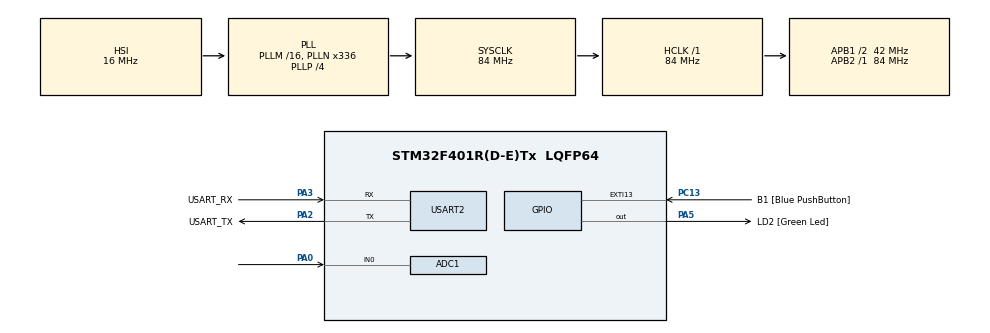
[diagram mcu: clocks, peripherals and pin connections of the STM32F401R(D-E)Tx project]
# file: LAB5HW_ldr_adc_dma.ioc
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ADC1.Channel-0\#ChannelRegularConversion=ADC_CHANNEL_0
ADC1.ContinuousConvMode=DISABLE
ADC1.DMAContinuousRequests=ENABLE
ADC1.ExternalTrigConv=ADC_EXTERNALTRIGCONV_T2_TRGO
ADC1.NbrOfConversion=1
ADC1.NbrOfConversionFlag=1
ADC1.Rank-0\#ChannelRegularConversion=1
ADC1.SamplingTime-0\#ChannelRegularConversion=ADC_SAMPLETIME_3CYCLES
ADC1.master=1
Dma.ADC1.0.Direction=DMA_PERIPH_TO_MEMORY
Dma.ADC1.0.FIFOMode=DMA_FIFOMODE_DISABLE
Dma.ADC1.0.Instance=DMA2_Stream0
Dma.ADC1.0.MemDataAlignment=DMA_MDATAALIGN_HALFWORD
Dma.ADC1.0.MemInc=DMA_MINC_ENABLE
Dma.ADC1.0.Mode=DMA_CIRCULAR
Dma.ADC1.0.PeriphDataAlignment=DMA_PDATAALIGN_HALFWORD
Dma.ADC1.0.PeriphInc=DMA_PINC_DISABLE
Dma.ADC1.0.Priority=DMA_PRIORITY_LOW
Dma.Request0=ADC1
Dma.Request1=USART2_TX
Dma.USART2_TX.1.Direction=DMA_MEMORY_TO_PERIPH
Dma.USART2_TX.1.FIFOMode=DMA_FIFOMODE_DISABLE
Dma.USART2_TX.1.Instance=DMA1_Stream6
Dma.USART2_TX.1.MemDataAlignment=DMA_MDATAALIGN_BYTE
Dma.USART2_TX.1.MemInc=DMA_MINC_ENABLE
Dma.USART2_TX.1.Mode=DMA_NORMAL
Dma.USART2_TX.1.PeriphDataAlignment=DMA_PDATAALIGN_BYTE
Dma.USART2_TX.1.PeriphInc=DMA_PINC_DISABLE
Dma.USART2_TX.1.Priority=DMA_PRIORITY_LOW
Mcu.Family=STM32F4
Mcu.Name=STM32F401R(D-E)Tx
Mcu.Package=LQFP64
NVIC.DMA1_Stream6_IRQn=true\:0\:0\:false\:false\:true\:false\:true
NVIC.DMA2_Stream0_IRQn=true\:0\:0\:false\:false\:true\:false\:true
NVIC.PriorityGroup=NVIC_PRIORITYGROUP_0
NVIC.USART2_IRQn=true\:0\:0\:false\:false\:true\:true\:true
PA0-WKUP.Signal=ADCx_IN0
PA13.GPIO_Label=TMS
PA13.Mode=Serial_Wire
PA13.Signal=SYS_JTMS-SWDIO
PA14.GPIO_Label=TCK
PA14.Mode=Serial_Wire
PA14.Signal=SYS_JTCK-SWCLK
PA2.GPIO_Label=USART_TX
PA2.GPIO_Mode=GPIO_MODE_AF_PP
PA2.GPIO_PuPd=GPIO_NOPULL
PA2.GPIO_Speed=GPIO_SPEED_FREQ_LOW
PA2.Mode=Asynchronous
PA2.Signal=USART2_TX
PA3.GPIO_Label=USART_RX
PA3.GPIO_Mode=GPIO_MODE_AF_PP
PA3.GPIO_PuPd=GPIO_NOPULL
PA3.GPIO_Speed=GPIO_SPEED_FREQ_LOW
PA3.Mode=Asynchronous
PA3.Signal=USART2_RX
PA5.GPIO_Label=LD2 [Green Led]
PA5.GPIO_Mode=GPIO_MODE_OUTPUT_PP
PA5.GPIO_PuPd=GPIO_NOPULL
PA5.GPIO_Speed=GPIO_SPEED_FREQ_LOW
PA5.Signal=GPIO_Output
PB3.GPIO_Label=SWO
PB3.Signal=SYS_JTDO-SWO
PC13-ANTI_TAMP.GPIO_Label=B1 [Blue PushButton]
PC13-ANTI_TAMP.GPIO_ModeDefaultEXTI=GPIO_MODE_IT_FALLING
PC13-ANTI_TAMP.GPIO_PuPd=GPIO_NOPULL
PC13-ANTI_TAMP.Signal=GPXTI13
PC14-OSC32_IN.Mode=LSE-External-Oscillator
PC14-OSC32_IN.Signal=RCC_OSC32_IN
PC15-OSC32_OUT.Mode=LSE-External-Oscillator
PC15-OSC32_OUT.Signal=RCC_OSC32_OUT
PH0\ -\ OSC_IN.Mode=HSE-External-Clock-Source
PH0\ -\ OSC_IN.Signal=RCC_OSC_IN
PH1\ -\ OSC_OUT.Mode=HSE-External-Clock-Source
PH1\ -\ OSC_OUT.Signal=RCC_OSC_OUT
ProjectManager.HeapSize=0x200
ProjectManager.StackSize=0x400
ProjectManager.TargetToolchain=STM32CubeIDE
RCC.48MHZClocksFreq_Value=48000000
RCC.AHBFreq_Value=84000000
RCC.APB1CLKDivider=RCC_HCLK_DIV2
RCC.APB1Freq_Value=42000000
RCC.APB1TimFreq_Value=84000000
RCC.APB2Freq_Value=84000000
RCC.APB2TimFreq_Value=84000000
RCC.CortexFreq_Value=84000000
RCC.HCLKFreq_Value=84000000
RCC.HSE_VALUE=8000000
RCC.HSI_VALUE=16000000
RCC.PLLN=336
RCC.PLLP=RCC_PLLP_DIV4
RCC.PLLQ=7
RCC.SYSCLKFreq_VALUE=84000000
RCC.SYSCLKSource=RCC_SYSCLKSOURCE_PLLCLK
RCC.VCOOutputFreq_Value=336000000
SH.ADCx_IN0.0=ADC1_IN0,IN0
TIM2.AutoReloadPreload=TIM_AUTORELOAD_PRELOAD_ENABLE
TIM2.Period=21-1
TIM2.Prescaler=4000-1
TIM2.TIM_MasterOutputTrigger=TIM_TRGO_UPDATE
USART2.VirtualMode=VM_ASYNC
VP_TIM2_VS_ClockSourceINT.Mode=Internal
board=NUCLEO-F401RE

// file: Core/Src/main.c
/* USER CODE BEGIN Header */
/**
  ******************************************************************************
  * @file           : main.c
  * @brief          : Main program body
  ******************************************************************************
  * @attention
  *
  * <h2><center>&copy; Copyright (c) 2021 STMicroelectronics.
  * All rights reserved.</center></h2>
  *
  * This software component is licensed by ST under BSD 3-Clause license,
  * the "License"; You may not use this file except in compliance with the
  * License. You may obtain a copy of the License at:
  *                        opensource.org/licenses/BSD-3-Clause
  *
  ******************************************************************************
  */
/* USER CODE END Header */
#include "main.h"

/* USER CODE BEGIN Includes */
#include "stdio.h"
#include "math.h"
/* USER CODE END Includes */

/* USER CODE BEGIN PD */
#define BUFFER_LENGTH 50
/* USER CODE END PD */

ADC_HandleTypeDef hadc1;
DMA_HandleTypeDef hdma_adc1;

TIM_HandleTypeDef htim2;

UART_HandleTypeDef huart2;
DMA_HandleTypeDef hdma_usart2_tx;

/* USER CODE BEGIN PV */
#define ADC_BUFFER_SIZE 1000
uint16_t LDR_samples[ADC_BUFFER_SIZE];

/* USER CODE END PV */

void SystemClock_Config(void);
static void MX_GPIO_Init(void);
static void MX_USART2_UART_Init(void);
static void MX_DMA_Init(void);
static void MX_ADC1_Init(void);
static void MX_TIM2_Init(void);

/* USER CODE BEGIN 0 */
void HAL_ADC_ConvCpltCallback(ADC_HandleTypeDef* hadc)
{
  // HAL_UART_Transmit(&huart2, "complete\r\n", 6, 100);
}
/* USER CODE END 0 */

int main(void)
{

  /* MCU Configuration--------------------------------------------------------*/

  /* Reset of all peripherals, Initializes the Flash interface and the Systick. */
  HAL_Init();

  /* Configure the system clock */
  SystemClock_Config();

  /* USER CODE BEGIN SysInit */
  MX_DMA_Init();
  /* USER CODE END SysInit */

  /* Initialize all configured peripherals */
  MX_GPIO_Init();
  MX_USART2_UART_Init();
  MX_DMA_Init();
  MX_ADC1_Init();
  MX_TIM2_Init();
  /* USER CODE BEGIN 2 */

  if(HAL_ADC_Start_DMA(&hadc1, (uint32_t*) LDR_samples, ADC_BUFFER_SIZE) != HAL_OK){
 	  Error_Handler();
   }

  if(HAL_TIM_Base_Start(&htim2) != HAL_OK){
	  Error_Handler();
  }

  /* USER CODE END 2 */

  /* Infinite loop */
  /* USER CODE BEGIN WHILE */
  while (1)
  {
	  int sum = 0;
	  HAL_Delay(1000);

	 if(HAL_ADC_Stop_DMA(&hadc1) != HAL_OK){
		  Error_Handler();
	  }

	  for(int i  =0; i<1000; i++){
		  sum += LDR_samples[i];
	  }

	  {
	  char message[BUFFER_LENGTH];
	  float Vadc = (sum*3.3)/(4096*ADC_BUFFER_SIZE);
	  float Lux =  10*pow((3.3/Vadc)-1,1.25);
	  int length = snprintf (message, BUFFER_LENGTH, "Volt: %.4f V Lux: %.1f\r\n",Vadc,Lux);
	  HAL_UART_Transmit_DMA(&huart2, (uint8_t*) message, length);
	  if(HAL_ADC_Start_DMA (&hadc1,  (uint32_t*) LDR_samples, ADC_BUFFER_SIZE) != HAL_OK){
	 	  Error_Handler();
	   }
	  }

    /* USER CODE END WHILE */

  }
}

void SystemClock_Config(void)
{
  RCC_OscInitTypeDef RCC_OscInitStruct = {0};
  RCC_ClkInitTypeDef RCC_ClkInitStruct = {0};

  /** Configure the main internal regulator output voltage
  */
  __HAL_RCC_PWR_CLK_ENABLE();
  __HAL_PWR_VOLTAGESCALING_CONFIG(PWR_REGULATOR_VOLTAGE_SCALE2);
  /** Initializes the RCC Oscillators according to the specified parameters
  * in the RCC_OscInitTypeDef structure.
  */
  RCC_OscInitStruct.OscillatorType = RCC_OSCILLATORTYPE_HSI;
  RCC_OscInitStruct.HSIState = RCC_HSI_ON;
  RCC_OscInitStruct.HSICalibrationValue = RCC_HSICALIBRATION_DEFAULT;
  RCC_OscInitStruct.PLL.PLLState = RCC_PLL_ON;
  RCC_OscInitStruct.PLL.PLLSource = RCC_PLLSOURCE_HSI;
  RCC_OscInitStruct.PLL.PLLM = 16;
  RCC_OscInitStruct.PLL.PLLN = 336;
  RCC_OscInitStruct.PLL.PLLP = RCC_PLLP_DIV4;
  RCC_OscInitStruct.PLL.PLLQ = 7;
  if (HAL_RCC_OscConfig(&RCC_OscInitStruct) != HAL_OK)
  {
    Error_Handler();
  }
  /** Initializes the CPU, AHB and APB buses clocks
  */
  RCC_ClkInitStruct.ClockType = RCC_CLOCKTYPE_HCLK|RCC_CLOCKTYPE_SYSCLK
                              |RCC_CLOCKTYPE_PCLK1|RCC_CLOCKTYPE_PCLK2;
  RCC_ClkInitStruct.SYSCLKSource = RCC_SYSCLKSOURCE_PLLCLK;
  RCC_ClkInitStruct.AHBCLKDivider = RCC_SYSCLK_DIV1;
  RCC_ClkInitStruct.APB1CLKDivider = RCC_HCLK_DIV2;
  RCC_ClkInitStruct.APB2CLKDivider = RCC_HCLK_DIV1;

  if (HAL_RCC_ClockConfig(&RCC_ClkInitStruct, FLASH_LATENCY_2) != HAL_OK)
  {
    Error_Handler();
  }
}

static void MX_ADC1_Init(void)
{

  ADC_ChannelConfTypeDef sConfig = {0};

  /** Configure the global features of the ADC (Clock, Resolution, Data Alignment and number of conversion)
  */
  hadc1.Instance = ADC1;
  hadc1.Init.ClockPrescaler = ADC_CLOCK_SYNC_PCLK_DIV4;
  hadc1.Init.Resolution = ADC_RESOLUTION_12B;
  hadc1.Init.ScanConvMode = DISABLE;
  hadc1.Init.ContinuousConvMode = DISABLE;
  hadc1.Init.DiscontinuousConvMode = DISABLE;
  hadc1.Init.ExternalTrigConvEdge = ADC_EXTERNALTRIGCONVEDGE_RISING;
  hadc1.Init.ExternalTrigConv = ADC_EXTERNALTRIGCONV_T2_TRGO;
  hadc1.Init.DataAlign = ADC_DATAALIGN_RIGHT;
  hadc1.Init.NbrOfConversion = 1;
  hadc1.Init.DMAContinuousRequests = ENABLE;
  hadc1.Init.EOCSelection = ADC_EOC_SINGLE_CONV;
  if (HAL_ADC_Init(&hadc1) != HAL_OK)
  {
    Error_Handler();
  }
  /** Configure for the selected ADC regular channel its corresponding rank in the sequencer and its sample time.
  */
  sConfig.Channel = ADC_CHANNEL_0;
  sConfig.Rank = 1;
  sConfig.SamplingTime = ADC_SAMPLETIME_3CYCLES;
  if (HAL_ADC_ConfigChannel(&hadc1, &sConfig) != HAL_OK)
  {
    Error_Handler();
  }

}

static void MX_TIM2_Init(void)
{

  TIM_ClockConfigTypeDef sClockSourceConfig = {0};
  TIM_MasterConfigTypeDef sMasterConfig = {0};

  htim2.Instance = TIM2;
  htim2.Init.Prescaler = 4000-1;
  htim2.Init.CounterMode = TIM_COUNTERMODE_UP;
  htim2.Init.Period = 21-1;
  htim2.Init.ClockDivision = TIM_CLOCKDIVISION_DIV1;
  htim2.Init.AutoReloadPreload = TIM_AUTORELOAD_PRELOAD_ENABLE;
  if (HAL_TIM_Base_Init(&htim2) != HAL_OK)
  {
    Error_Handler();
  }
  sClockSourceConfig.ClockSource = TIM_CLOCKSOURCE_INTERNAL;
  if (HAL_TIM_ConfigClockSource(&htim2, &sClockSourceConfig) != HAL_OK)
  {
    Error_Handler();
  }
  sMasterConfig.MasterOutputTrigger = TIM_TRGO_UPDATE;
  sMasterConfig.MasterSlaveMode = TIM_MASTERSLAVEMODE_DISABLE;
  if (HAL_TIMEx_MasterConfigSynchronization(&htim2, &sMasterConfig) != HAL_OK)
  {
    Error_Handler();
  }

}

static void MX_USART2_UART_Init(void)
{

  huart2.Instance = USART2;
  huart2.Init.BaudRate = 115200;
  huart2.Init.WordLength = UART_WORDLENGTH_8B;
  huart2.Init.StopBits = UART_STOPBITS_1;
  huart2.Init.Parity = UART_PARITY_NONE;
  huart2.Init.Mode = UART_MODE_TX_RX;
  huart2.Init.HwFlowCtl = UART_HWCONTROL_NONE;
  huart2.Init.OverSampling = UART_OVERSAMPLING_16;
  if (HAL_UART_Init(&huart2) != HAL_OK)
  {
    Error_Handler();
  }

}

static void MX_DMA_Init(void)
{

  /* DMA controller clock enable */
  __HAL_RCC_DMA2_CLK_ENABLE();
  __HAL_RCC_DMA1_CLK_ENABLE();

  /* DMA interrupt init */
  /* DMA1_Stream6_IRQn interrupt configuration */
  HAL_NVIC_SetPriority(DMA1_Stream6_IRQn, 0, 0);
  HAL_NVIC_EnableIRQ(DMA1_Stream6_IRQn);
  /* DMA2_Stream0_IRQn interrupt configuration */
  HAL_NVIC_SetPriority(DMA2_Stream0_IRQn, 0, 0);
  HAL_NVIC_EnableIRQ(DMA2_Stream0_IRQn);

}

static void MX_GPIO_Init(void)
{
  GPIO_InitTypeDef GPIO_InitStruct = {0};

  /* GPIO Ports Clock Enable */
  __HAL_RCC_GPIOC_CLK_ENABLE();
  __HAL_RCC_GPIOH_CLK_ENABLE();
  __HAL_RCC_GPIOA_CLK_ENABLE();
  __HAL_RCC_GPIOB_CLK_ENABLE();

  /*Configure GPIO pin Output Level */
  HAL_GPIO_WritePin(LD2_GPIO_Port, LD2_Pin, GPIO_PIN_RESET);

  /*Configure GPIO pin : B1_Pin */
  GPIO_InitStruct.Pin = B1_Pin;
  GPIO_InitStruct.Mode = GPIO_MODE_IT_FALLING;
  GPIO_InitStruct.Pull = GPIO_NOPULL;
  HAL_GPIO_Init(B1_GPIO_Port, &GPIO_InitStruct);

  /*Configure GPIO pin : LD2_Pin */
  GPIO_InitStruct.Pin = LD2_Pin;
  GPIO_InitStruct.Mode = GPIO_MODE_OUTPUT_PP;
  GPIO_InitStruct.Pull = GPIO_NOPULL;
  GPIO_InitStruct.Speed = GPIO_SPEED_FREQ_LOW;
  HAL_GPIO_Init(LD2_GPIO_Port, &GPIO_InitStruct);

}

void Error_Handler(void)
{
  __disable_irq();
  while (1)
  {
  }
}

/************************ (C) COPYRIGHT STMicroelectronics *****END OF FILE****/
